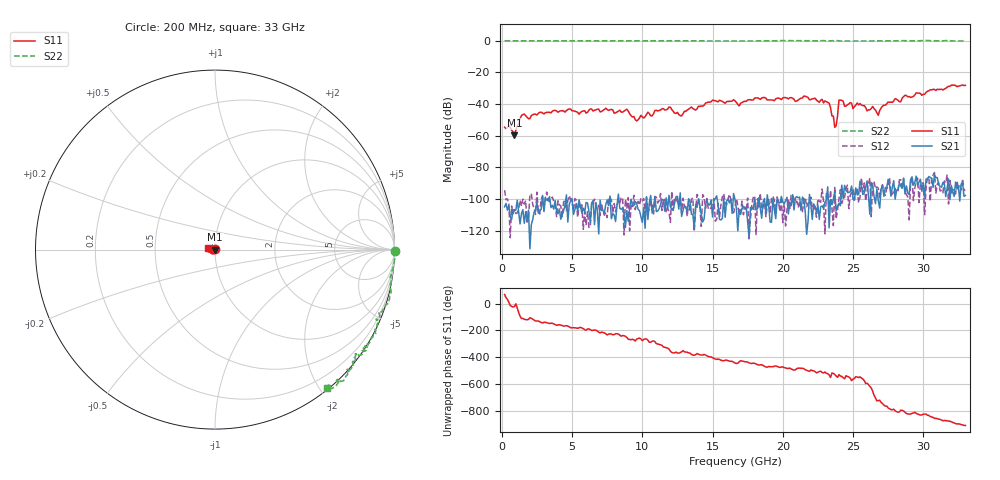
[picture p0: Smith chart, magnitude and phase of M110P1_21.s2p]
# GHZ S RI R 50
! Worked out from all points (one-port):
!   329 points, 200 MHz to 33 GHz, reference 50 ohm
!   lowest |S11| = -59.8 dB at 900 MHz (marker M1), VSWR 1.00, Z = 50.1 - j0.0391 ohm
!   |S11| at or under -10 dB: start of sweep to end of sweep
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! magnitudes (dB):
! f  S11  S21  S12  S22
! 200 MHz  -54.6  -105.0  -94.4  0.0
! 500 MHz  -53.3  -104.0  -103.0  0.0
! 900 MHz  -59.8  -107.5  -106.7  0.0
! 1.6 GHz  -46.3  -115.4  -103.3  0.0
! 5.7 GHz  -44.7  -108.9  -103.6  -0.1
! 8.9 GHz  -43.3  -107.3  -105.7  0.0
! 9.6 GHz  -50.7  -102.8  -102.9  0.0
! 11.2 GHz  -44.1  -106.2  -101.0  0.1
! 12 GHz  -42.1  -104.8  -114.8  0.1
! 12.8 GHz  -47.5  -111.0  -108.5  0.0
! 15 GHz  -37.5  -111.4  -102.8  -0.2
! 16.6 GHz  -38.0  -100.3  -105.1  -0.2
! 22.1 GHz  -36.7  -113.0  -105.7  0.0
! 23.3 GHz  -39.4  -118.2  -105.6  -0.1
! 23.7 GHz  -54.7  -95.8  -92.6  0.0
! 23.8 GHz  -53.7  -107.6  -112.6  0.0
! 24 GHz  -37.6  -102.6  -99.9  0.0
! 25 GHz  -42.9  -100.1  -94.0  -0.2
! 26.4 GHz  -41.5  -91.5  -89.3  -0.1
! 26.8 GHz  -47.0  -101.2  -93.1  -0.1
! 27.6 GHz  -38.9  -90.6  -86.5  -0.1
! 33 GHz  -28.2  -97.7  -94.4  -0.1
